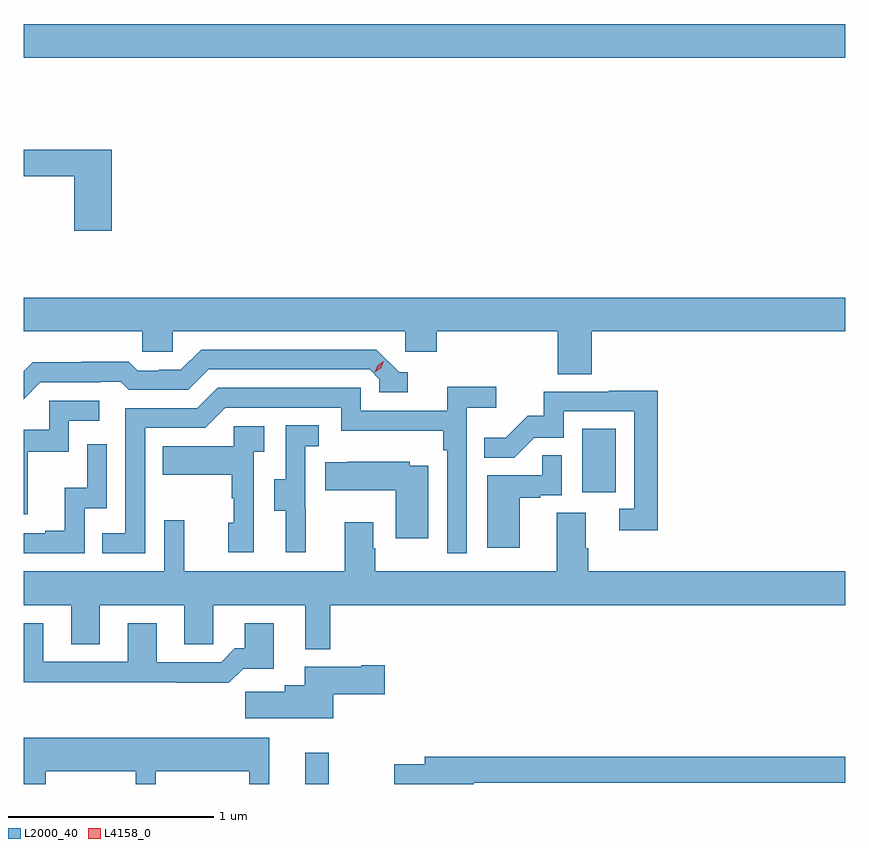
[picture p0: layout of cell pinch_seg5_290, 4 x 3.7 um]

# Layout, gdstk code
import gdstk
lib = gdstk.Library(unit=1e-6, precision=1e-09)
def R(c, l, rs):  # rectangles x0, y0, x1, y1
    for r in rs: c.add(gdstk.rectangle(r[:2], r[2:], *l))
def P(c, l, *ps):  # polygons
    for p in ps: c.add(gdstk.Polygon(p, *l))
L2000_40 = (2000, 40)
L4158_0 = (4158, 0)

pinch_seg5_290 = lib.new_cell('pinch_seg5_290')
R(pinch_seg5_290, L2000_40, [(916.151,877.201,916.265,877.354), (917.498,878.622,917.662,878.929), (914.78,880.736,918.78,880.9)])
P(pinch_seg5_290, L2000_40, [(915.209,880.288),(914.78,880.288),(914.78,880.159),(915.026,880.159),(915.026,879.894),(915.209,879.894)],
  [(917.546,879.404),(918.78,879.404),(918.78,879.568),(914.78,879.568),(914.78,879.404),(915.357,879.404),(915.357,879.306),(915.507,879.306),(915.507,879.404),(916.638,879.404),(916.638,879.306),(916.79,879.306),(916.79,879.404),(917.381,879.404),(917.381,879.196),(917.546,879.196)],
  [(914.862,879.156),(915.155,879.156),(915.155,879.159),(915.254,879.159),(915.293,879.12),(915.582,879.12),(915.681,879.219),(916.464,879.219),(916.512,879.171),(916.512,879.108),(916.651,879.108),(916.651,879.204),(916.608,879.204),(916.497,879.315),(915.644,879.315),(915.545,879.216),(915.438,879.216),(915.438,879.213),(915.335,879.213),(915.293,879.256),(915.06,879.256),(915.06,879.253),(914.824,879.253),(914.78,879.209),(914.78,879.074)],
  [(915.372,878.934),(915.663,878.934),(915.762,879.033),(916.326,879.033),(916.326,878.921),(916.822,878.921),(916.822,878.825),(916.842,878.825),(916.842,878.325),(916.938,878.325),(916.938,879.032),(917.08,879.032),(917.08,879.134),(916.841,879.134),(916.841,879.018),(916.422,879.018),(916.422,879.129),(915.725,879.129),(915.626,879.03),(915.276,879.03),(915.276,878.421),(915.163,878.421),(915.163,878.325),(915.372,878.325)],
  [(917.867,879.116),(917.629,879.116),(917.629,879.111),(917.311,879.111),(917.311,878.994),(917.234,878.994),(917.127,878.887),(917.023,878.887),(917.023,878.788),(917.167,878.788),(917.265,878.886),(917.409,878.886),(917.409,879.015),(917.751,879.015),(917.751,878.541),(917.679,878.541),(917.679,878.436),(917.867,878.436)],
  [(914.801,878.817),(915,878.817),(915,878.97),(915.148,878.97),(915.148,879.066),(914.904,879.066),(914.904,878.925),(914.78,878.925),(914.78,878.514),(914.801,878.514)],
  [(916.154,878.541),(916.152,878.541),(916.152,878.845),(916.216,878.845),(916.216,878.948),(916.056,878.948),(916.056,878.685),(916.001,878.685),(916.001,878.53),(916.055,878.53),(916.055,878.328),(916.154,878.328)],
  [(915.9,878.819),(915.952,878.819),(915.952,878.943),(915.804,878.943),(915.804,878.845),(915.457,878.845),(915.457,878.705),(915.792,878.705),(915.792,878.591),(915.802,878.591),(915.802,878.472),(915.776,878.472),(915.776,878.328),(915.9,878.328)],
  [(915.078,878.544),(915.186,878.544),(915.186,878.854),(915.09,878.854),(915.09,878.642),(914.981,878.642),(914.981,878.434),(914.885,878.434),(914.885,878.421),(914.78,878.421),(914.78,878.325),(915.078,878.325)],
  [(917.194,878.595),(917.294,878.595),(917.294,878.607),(917.4,878.607),(917.4,878.801),(917.305,878.801),(917.305,878.703),(917.036,878.703),(917.036,878.352),(917.194,878.352)],
  [(916.75,878.749),(916.659,878.749),(916.659,878.77),(916.357,878.77),(916.357,878.767),(916.249,878.767),(916.249,878.63),(916.592,878.63),(916.592,878.397),(916.75,878.397)],
  [(916.273,878.072),(918.78,878.072),(918.78,878.236),(917.528,878.236),(917.528,878.348),(917.515,878.348),(917.515,878.522),(917.375,878.522),(917.375,878.236),(916.491,878.236),(916.491,878.348),(916.483,878.348),(916.483,878.476),(916.343,878.476),(916.343,878.236),(915.563,878.236),(915.563,878.485),(915.465,878.485),(915.465,878.236),(914.78,878.236),(914.78,878.072),(915.011,878.072),(915.011,877.882),(915.151,877.882),(915.151,878.072),(915.563,878.072),(915.563,877.882),(915.702,877.882),(915.702,878.072),(916.151,878.072),(916.151,877.856),(916.273,877.856)],
  [(915.848,877.763),(915.997,877.763),(915.997,877.984),(915.857,877.984),(915.857,877.861),(915.808,877.861),(915.741,877.794),(915.427,877.794),(915.427,877.984),(915.287,877.984),(915.287,877.797),(914.875,877.797),(914.875,877.984),(914.78,877.984),(914.78,877.696),(915.523,877.696),(915.523,877.694),(915.779,877.694)],
  [(916.288,877.637),(916.537,877.637),(916.537,877.779),(916.424,877.779),(916.424,877.771),(916.148,877.771),(916.148,877.681),(916.052,877.681),(916.052,877.649),(915.858,877.649),(915.858,877.52),(916.288,877.52)],
  [(914.887,877.262),(915.326,877.262),(915.326,877.201),(915.424,877.201),(915.424,877.262),(915.878,877.262),(915.878,877.201),(915.976,877.201),(915.976,877.426),(914.78,877.426),(914.78,877.201),(914.887,877.201)],
  [(916.972,877.206),(918.78,877.206),(918.78,877.334),(916.733,877.334),(916.733,877.298),(916.584,877.298),(916.584,877.201),(916.972,877.201)])
P(pinch_seg5_290, L4158_0, [(916.489,879.204),(916.489,879.204),(916.504,879.238),(916.534,879.258),(916.534,879.258),(916.534,879.258),(916.519,879.224),(916.489,879.204)])

lib.write_gds('pinch_seg5_290.gds')
